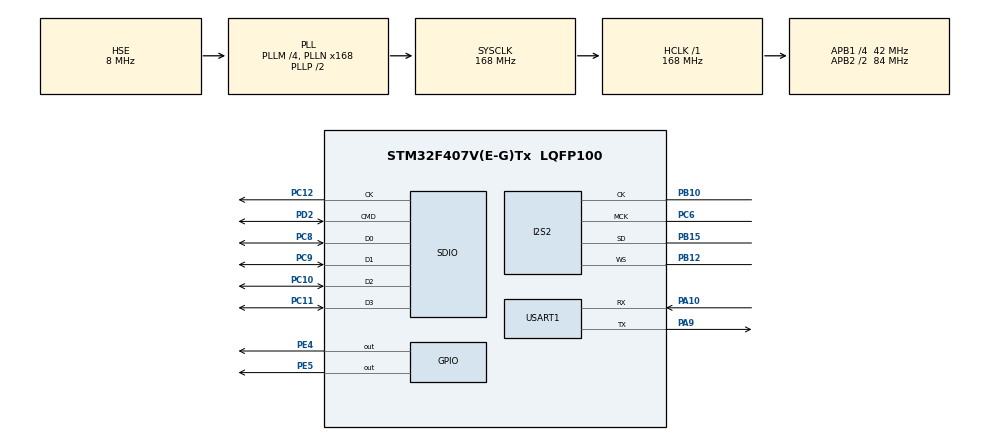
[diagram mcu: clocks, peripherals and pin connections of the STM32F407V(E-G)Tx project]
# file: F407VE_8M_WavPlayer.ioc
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Dma.Request0=SPI2_TX
Dma.Request1=SDIO_RX
Dma.Request2=SDIO_TX
Dma.SDIO_RX.1.Direction=DMA_PERIPH_TO_MEMORY
Dma.SDIO_RX.1.FIFOMode=DMA_FIFOMODE_ENABLE
Dma.SDIO_RX.1.FIFOThreshold=DMA_FIFO_THRESHOLD_FULL
Dma.SDIO_RX.1.Instance=DMA2_Stream3
Dma.SDIO_RX.1.MemBurst=DMA_MBURST_INC4
Dma.SDIO_RX.1.MemDataAlignment=DMA_MDATAALIGN_WORD
Dma.SDIO_RX.1.MemInc=DMA_MINC_ENABLE
Dma.SDIO_RX.1.Mode=DMA_PFCTRL
Dma.SDIO_RX.1.PeriphBurst=DMA_PBURST_INC4
Dma.SDIO_RX.1.PeriphDataAlignment=DMA_PDATAALIGN_WORD
Dma.SDIO_RX.1.PeriphInc=DMA_PINC_DISABLE
Dma.SDIO_RX.1.Priority=DMA_PRIORITY_LOW
Dma.SDIO_TX.2.Direction=DMA_MEMORY_TO_PERIPH
Dma.SDIO_TX.2.FIFOMode=DMA_FIFOMODE_ENABLE
Dma.SDIO_TX.2.FIFOThreshold=DMA_FIFO_THRESHOLD_FULL
Dma.SDIO_TX.2.Instance=DMA2_Stream6
Dma.SDIO_TX.2.MemBurst=DMA_MBURST_INC4
Dma.SDIO_TX.2.MemDataAlignment=DMA_MDATAALIGN_WORD
Dma.SDIO_TX.2.MemInc=DMA_MINC_ENABLE
Dma.SDIO_TX.2.Mode=DMA_PFCTRL
Dma.SDIO_TX.2.PeriphBurst=DMA_PBURST_INC4
Dma.SDIO_TX.2.PeriphDataAlignment=DMA_PDATAALIGN_WORD
Dma.SDIO_TX.2.PeriphInc=DMA_PINC_DISABLE
Dma.SDIO_TX.2.Priority=DMA_PRIORITY_LOW
Dma.SPI2_TX.0.Direction=DMA_MEMORY_TO_PERIPH
Dma.SPI2_TX.0.FIFOMode=DMA_FIFOMODE_DISABLE
Dma.SPI2_TX.0.Instance=DMA1_Stream4
Dma.SPI2_TX.0.MemDataAlignment=DMA_MDATAALIGN_HALFWORD
Dma.SPI2_TX.0.MemInc=DMA_MINC_ENABLE
Dma.SPI2_TX.0.Mode=DMA_CIRCULAR
Dma.SPI2_TX.0.PeriphDataAlignment=DMA_PDATAALIGN_HALFWORD
Dma.SPI2_TX.0.PeriphInc=DMA_PINC_DISABLE
Dma.SPI2_TX.0.Priority=DMA_PRIORITY_LOW
FATFS._CODE_PAGE=850
FATFS._FS_MINIMIZE=0
FATFS._USE_FIND=1
FATFS._USE_LFN=2
FATFS._USE_MKFS=0
I2S2.AudioFreq=I2S_AUDIOFREQ_44K
I2S2.CPOL=I2S_CPOL_LOW
I2S2.DataFormat=I2S_DATAFORMAT_16B
I2S2.ErrorAudioFreq=0.26 %
I2S2.FullDuplexMode=I2S_FULLDUPLEXMODE_DISABLE
I2S2.Instance=SPI$Index
I2S2.RealAudioFreq=44.117 KHz
I2S2.VirtualMode=I2S_MODE_MASTER
Mcu.Family=STM32F4
Mcu.Name=STM32F407V(E-G)Tx
Mcu.Package=LQFP100
NVIC.DMA1_Stream4_IRQn=true\:0\:0\:false\:false\:true\:false\:true
NVIC.DMA2_Stream3_IRQn=true\:0\:0\:false\:false\:true\:false\:true
NVIC.DMA2_Stream6_IRQn=true\:0\:0\:false\:false\:true\:false\:true
NVIC.PriorityGroup=NVIC_PRIORITYGROUP_4
NVIC.SDIO_IRQn=true\:0\:0\:false\:false\:true\:true\:true
NVIC.USART1_IRQn=true\:0\:0\:false\:false\:true\:true\:true
PA10.Mode=Asynchronous
PA10.Signal=USART1_RX
PA13.Mode=Serial_Wire
PA13.Signal=SYS_JTMS-SWDIO
PA14.Mode=Serial_Wire
PA14.Signal=SYS_JTCK-SWCLK
PA9.Mode=Asynchronous
PA9.Signal=USART1_TX
PB10.Mode=Half_Duplex_Master
PB10.Signal=I2S2_CK
PB12.Mode=Half_Duplex_Master
PB12.Signal=I2S2_WS
PB15.Mode=Half_Duplex_Master
PB15.Signal=I2S2_SD
PC10.Mode=SD_4_bits_Wide_bus
PC10.Signal=SDIO_D2
PC11.Mode=SD_4_bits_Wide_bus
PC11.Signal=SDIO_D3
PC12.Mode=SD_4_bits_Wide_bus
PC12.Signal=SDIO_CK
PC14-OSC32_IN.Mode=LSE-External-Oscillator
PC14-OSC32_IN.Signal=RCC_OSC32_IN
PC15-OSC32_OUT.Mode=LSE-External-Oscillator
PC15-OSC32_OUT.Signal=RCC_OSC32_OUT
PC6.Mode=Master_Clock_Activated
PC6.Signal=I2S2_MCK
PC8.Mode=SD_4_bits_Wide_bus
PC8.Signal=SDIO_D0
PC9.Mode=SD_4_bits_Wide_bus
PC9.Signal=SDIO_D1
PD2.Mode=SD_4_bits_Wide_bus
PD2.Signal=SDIO_CMD
PE4.GPIO_ModeDefaultOutputPP=GPIO_MODE_OUTPUT_PP
PE4.GPIO_PuPd=GPIO_PULLUP
PE4.GPIO_Speed=GPIO_SPEED_FREQ_VERY_HIGH
PE4.PinState=GPIO_PIN_SET
PE4.Signal=GPIO_Output
PE5.GPIO_ModeDefaultOutputPP=GPIO_MODE_OUTPUT_PP
PE5.GPIO_PuPd=GPIO_PULLUP
PE5.GPIO_Speed=GPIO_SPEED_FREQ_VERY_HIGH
PE5.PinState=GPIO_PIN_SET
PE5.Signal=GPIO_Output
PH0-OSC_IN.Mode=HSE-External-Oscillator
PH0-OSC_IN.Signal=RCC_OSC_IN
PH1-OSC_OUT.Mode=HSE-External-Oscillator
PH1-OSC_OUT.Signal=RCC_OSC_OUT
ProjectManager.HeapSize=0x4000
ProjectManager.StackSize=0x1000
ProjectManager.TargetToolchain=MDK-ARM V5.27
RCC.48MHZClocksFreq_Value=48000000
RCC.AHBFreq_Value=168000000
RCC.APB1CLKDivider=RCC_HCLK_DIV4
RCC.APB1Freq_Value=42000000
RCC.APB1TimFreq_Value=84000000
RCC.APB2CLKDivider=RCC_HCLK_DIV2
RCC.APB2Freq_Value=84000000
RCC.APB2TimFreq_Value=168000000
RCC.CortexFreq_Value=168000000
RCC.HCLKFreq_Value=168000000
RCC.HSE_VALUE=8000000
RCC.HSI_VALUE=16000000
RCC.PLLM=4
RCC.PLLN=168
RCC.PLLQ=7
RCC.PLLSourceVirtual=RCC_PLLSOURCE_HSE
RCC.SYSCLKFreq_VALUE=168000000
RCC.SYSCLKSource=RCC_SYSCLKSOURCE_PLLCLK
RCC.VCOOutputFreq_Value=336000000
SDIO.ClockDiv=4
USART1.VirtualMode=VM_ASYNC
VP_FATFS_VS_SDIO.Mode=SDIO
board=custom

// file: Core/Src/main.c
/* USER CODE BEGIN Header */
/**
  ******************************************************************************
  * @file           : main.c
  * @brief          : Main program body
  ******************************************************************************
  * @attention
  *
  * <h2><center>&copy; Copyright (c) 2021 STMicroelectronics.
  * All rights reserved.</center></h2>
  *
  * This software component is licensed by ST under BSD 3-Clause license,
  * the "License"; You may not use this file except in compliance with the
  * License. You may obtain a copy of the License at:
  *                        opensource.org/licenses/BSD-3-Clause
  *
  ******************************************************************************
  */
/* USER CODE END Header */
#include "main.h"
#include "dma.h"
#include "fatfs.h"
#include "i2s.h"
#include "sdio.h"
#include "usart.h"
#include "gpio.h"

/* USER CODE BEGIN Includes */
#include "DELAY/delay.h"
#include "math.h"
#include "USART/myusart1.h"
#include <stdio.h>
/* USER CODE END Includes */

/* USER CODE BEGIN PD */
#define DATALEN 32
#define PI 3.14159265
/* USER CODE END PD */

/* USER CODE BEGIN PV */
int16_t data[DATALEN*2];
/* USER CODE END PV */

void SystemClock_Config(void);

int main(void)
{
  /* USER CODE BEGIN 1 */
  uint16_t i;
  /* USER CODE END 1 */

  /* MCU Configuration--------------------------------------------------------*/

  /* Reset of all peripherals, Initializes the Flash interface and the Systick. */
  HAL_Init();

  /* Configure the system clock */
  SystemClock_Config();

  /* Initialize all configured peripherals */
  MX_GPIO_Init();
  MX_DMA_Init();
  MX_USART1_UART_Init();
  MX_SDIO_SD_Init();
  MX_I2S2_Init();
  MX_FATFS_Init();
  /* USER CODE BEGIN 2 */
  Delay_Init(168);
  MyUSART1_Init(&huart1);
  printf("booted\r\n");
  for(i = 0; i < DATALEN; i++)
  {
    data[i] = sin(2.0*PI*i/DATALEN) * 32767;
    data[i+1] = data[i];
  }
  Delay_ms(500);
  HAL_I2S_Transmit_DMA(&hi2s2, (uint16_t*)data, DATALEN);
  /* USER CODE END 2 */

  /* Infinite loop */
  while (1)
  {

    /* USER CODE BEGIN 3 */
    Delay_ms(500);
  }
  /* USER CODE END 3 */
}

void SystemClock_Config(void)
{
  RCC_OscInitTypeDef RCC_OscInitStruct = {0};
  RCC_ClkInitTypeDef RCC_ClkInitStruct = {0};
  RCC_PeriphCLKInitTypeDef PeriphClkInitStruct = {0};

  /** Configure the main internal regulator output voltage
  */
  __HAL_RCC_PWR_CLK_ENABLE();
  __HAL_PWR_VOLTAGESCALING_CONFIG(PWR_REGULATOR_VOLTAGE_SCALE1);
  /** Initializes the RCC Oscillators according to the specified parameters
  * in the RCC_OscInitTypeDef structure.
  */
  RCC_OscInitStruct.OscillatorType = RCC_OSCILLATORTYPE_HSE;
  RCC_OscInitStruct.HSEState = RCC_HSE_ON;
  RCC_OscInitStruct.PLL.PLLState = RCC_PLL_ON;
  RCC_OscInitStruct.PLL.PLLSource = RCC_PLLSOURCE_HSE;
  RCC_OscInitStruct.PLL.PLLM = 4;
  RCC_OscInitStruct.PLL.PLLN = 168;
  RCC_OscInitStruct.PLL.PLLP = RCC_PLLP_DIV2;
  RCC_OscInitStruct.PLL.PLLQ = 7;
  if (HAL_RCC_OscConfig(&RCC_OscInitStruct) != HAL_OK)
  {
    Error_Handler();
  }
  /** Initializes the CPU, AHB and APB buses clocks
  */
  RCC_ClkInitStruct.ClockType = RCC_CLOCKTYPE_HCLK|RCC_CLOCKTYPE_SYSCLK
                              |RCC_CLOCKTYPE_PCLK1|RCC_CLOCKTYPE_PCLK2;
  RCC_ClkInitStruct.SYSCLKSource = RCC_SYSCLKSOURCE_PLLCLK;
  RCC_ClkInitStruct.AHBCLKDivider = RCC_SYSCLK_DIV1;
  RCC_ClkInitStruct.APB1CLKDivider = RCC_HCLK_DIV4;
  RCC_ClkInitStruct.APB2CLKDivider = RCC_HCLK_DIV2;

  if (HAL_RCC_ClockConfig(&RCC_ClkInitStruct, FLASH_LATENCY_5) != HAL_OK)
  {
    Error_Handler();
  }
  PeriphClkInitStruct.PeriphClockSelection = RCC_PERIPHCLK_I2S;
  PeriphClkInitStruct.PLLI2S.PLLI2SN = 192;
  PeriphClkInitStruct.PLLI2S.PLLI2SR = 2;
  if (HAL_RCCEx_PeriphCLKConfig(&PeriphClkInitStruct) != HAL_OK)
  {
    Error_Handler();
  }
}

void Error_Handler(void)
{
  /* USER CODE BEGIN Error_Handler_Debug */
  /* User can add his own implementation to report the HAL error return state */
  // __disable_irq();
  return;
  while (1)
  {
  }
  /* USER CODE END Error_Handler_Debug */
}

/************************ (C) COPYRIGHT STMicroelectronics *****END OF FILE****/
